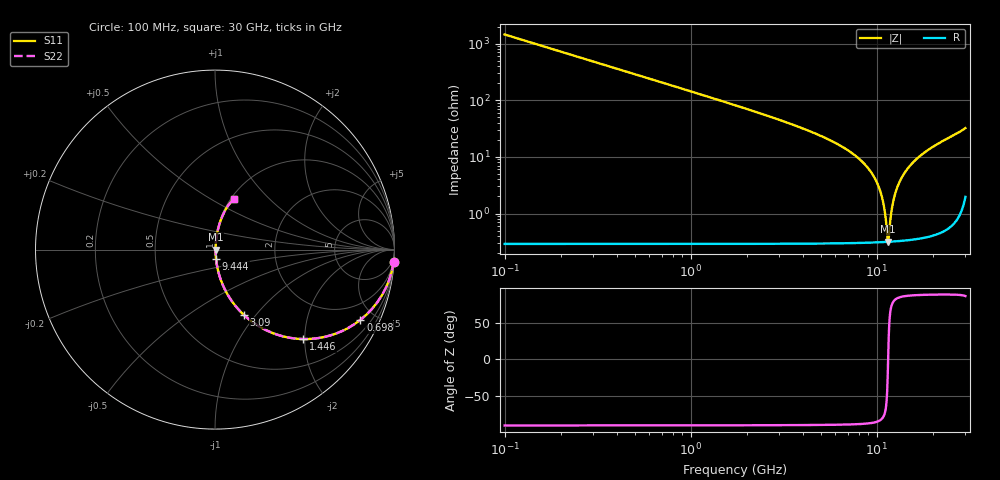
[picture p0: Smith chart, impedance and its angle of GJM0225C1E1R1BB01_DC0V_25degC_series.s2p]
!Murata Part Number: GJM0225C1E1R1BB01
!These Parameters are Measured in Series Mode Connection
!  o--ll--o
!Port1  Port2
!  o------o
!Operation Temp=25[degC], DC Bias Voltage=0[V]
!Freq. Start=100[MHz] Stop=30[GHz], 401[Steps]
!Data Generated on Feb 1, 2023
# Hz S RI R 50
!Freq.(Hz) S11(Real) S11(Imag) S21(Real) S21(Imag) S12(Real) S12(Imag) S22(Real) S22(Imag)
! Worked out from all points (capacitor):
!   401 points, 100 MHz to 30 GHz, reference 50 ohm
!   read as one part in series: C = 1.1 pF near 249.5 MHz
!   lowest |Z| = 317 mohm at 11.54 GHz (marker M1)
!   series resonance near 11.53 GHz, so ESL is about 170 pH
!   S11 on the Smith chart (normalised r, x): 100 MHz: 1, -29; 698 MHz: 1.01, -4.13; 1.446 GHz: 1.01, -1.97; 3.09 GHz: 1.01, -0.87; 9.444 GHz: 1.01, -0.10; 30 GHz: 1.04, +0.64
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1e8  0.9952 -0.0688  0.00477 0.0688  0.00477 0.0688  0.9952 -0.0688
3.99e8  0.929 -0.2564  0.071 0.2564  0.071 0.2564  0.929 -0.2564
6.98e8  0.8097 -0.3918  0.1903 0.3918  0.1903 0.3918  0.8097 -0.3918
1.4455e9  0.4926 -0.4985  0.5074 0.4985  0.5074 0.4985  0.4926 -0.4985
2.193e9  0.2889 -0.451  0.7111 0.451  0.7111 0.451  0.2889 -0.451
3.09e9  0.1607 -0.3639  0.8393 0.3639  0.8393 0.3639  0.1607 -0.3639
5.10825e9  0.0519 -0.2154  0.9481 0.2154  0.9481 0.2154  0.0519 -0.2154
7.79925e9  0.013 -0.0993  0.987 0.0993  0.987 0.0993  0.013 -0.0993
9.44375e9  0.00559 -0.0502  0.9944 0.0502  0.9944 0.0502  0.00559 -0.0502
1.01165e10  0.00417 -0.0328  0.9958 0.0328  0.9958 0.0328  0.00417 -0.0328
1.0864e10  0.00334 -0.0149  0.9967 0.0149  0.9967 0.0149  0.00334 -0.0149
1.108825e10  0.00323 -0.00975  0.9968 0.00975  0.9968 0.00975  0.00323 -0.00975
1.138725e10  0.00316 -0.00306  0.9968 0.00306  0.9968 0.00306  0.00316 -0.00306
1.153675e10  0.00316 0.000213  0.9968 -0.000213  0.9968 -0.000213  0.00316 0.000213
1.168625e10  0.00318 0.00345  0.9968 -0.00345  0.9968 -0.00345  0.00318 0.00345
1.213475e10  0.00336 0.0129  0.9966 -0.0129  0.9966 -0.0129  0.00336 0.0129
1.2658e10  0.00378 0.0236  0.9962 -0.0236  0.9962 -0.0236  0.00378 0.0236
1.362975e10  0.00509 0.0424  0.9949 -0.0424  0.9949 -0.0424  0.00509 0.0424
1.505e10  0.00804 0.0679  0.992 -0.0679  0.992 -0.0679  0.00804 0.0679
2.005825e10  0.0259 0.1459  0.9741 -0.1459  0.9741 -0.1459  0.0259 0.1459
2.50665e10  0.0543 0.2141  0.9457 -0.2141  0.9457 -0.2141  0.0543 0.2141
3e10  0.1079 0.2812  0.8921 -0.2812  0.8921 -0.2812  0.1079 0.2812
